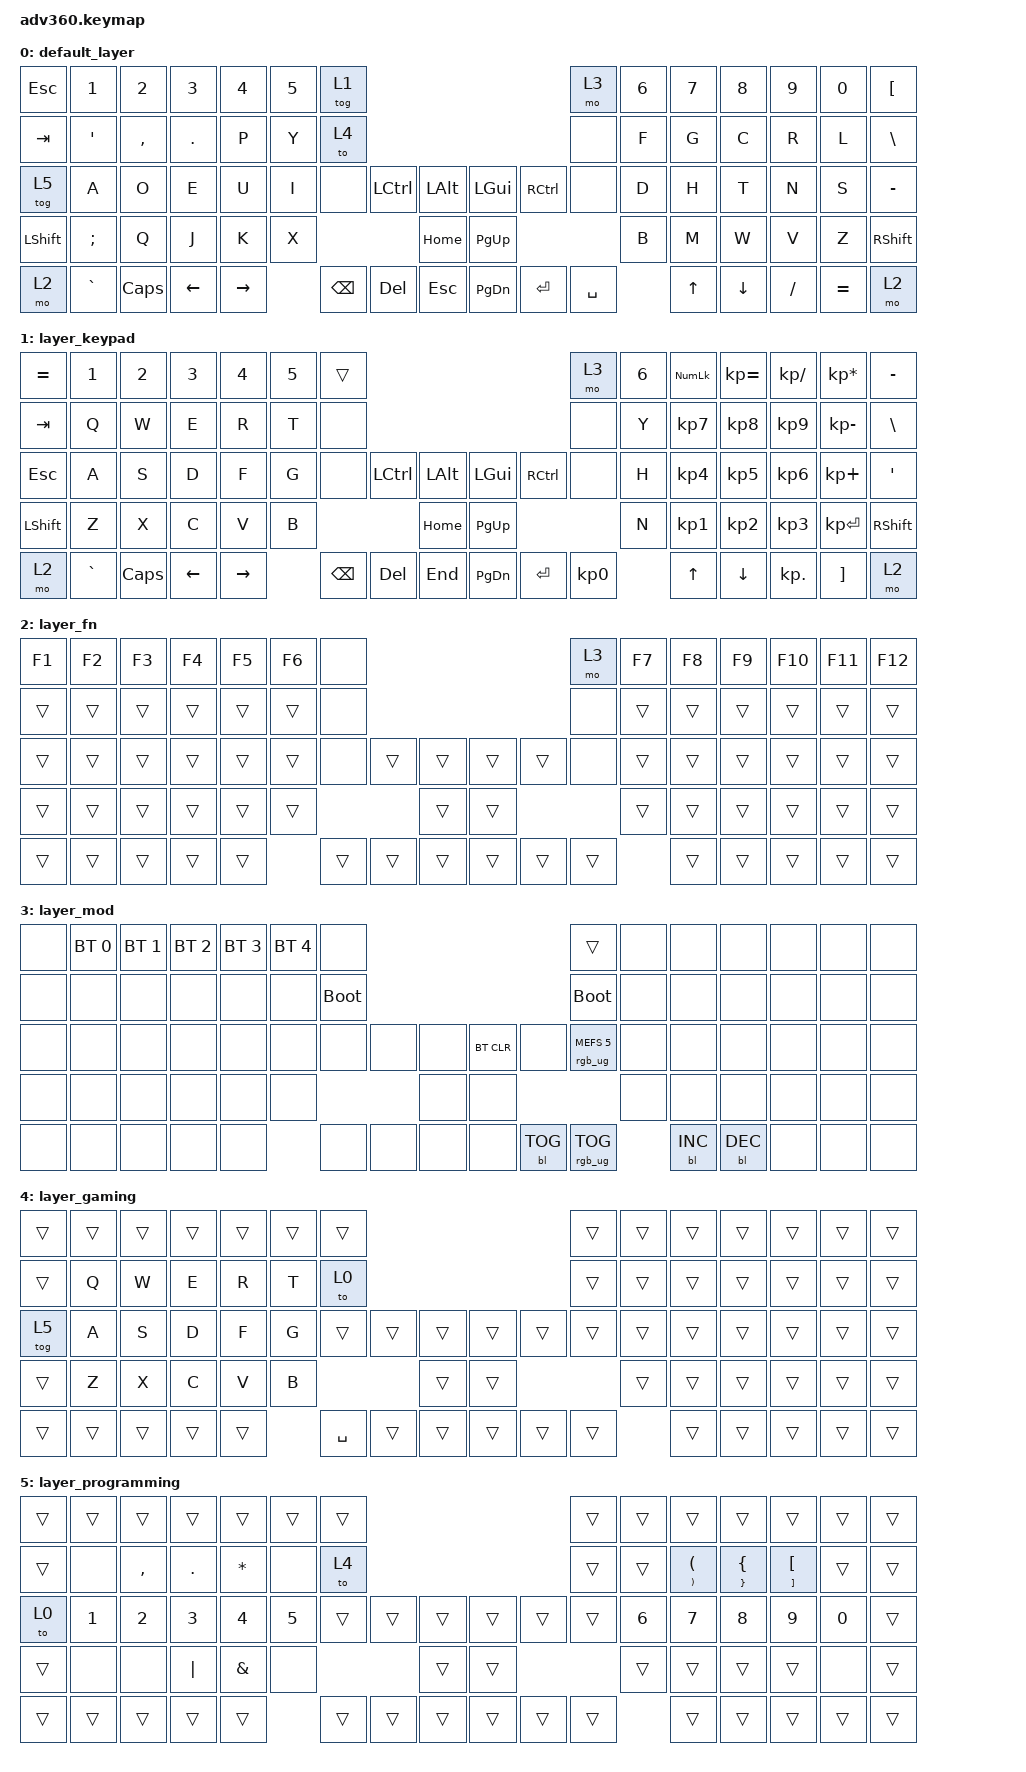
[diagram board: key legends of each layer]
/*
 * Copyright (c) 2020 The ZMK Contributors
 *
 * SPDX-License-Identifier: MIT
 */
/* THIS FILE WAS GENERATED!
 *
 * This file was generated automatically. You may or may not want to
 * edit it directly.
 */

#include <behaviors.dtsi>
#include <dt-bindings/zmk/backlight.h>
#include <dt-bindings/zmk/bt.h>
#include <dt-bindings/zmk/keys.h>
#include <dt-bindings/zmk/rgb.h>

/ {
    behaviors {
        #include "macros.dtsi"
    #include "version.dtsi"

        hm: homerow_mods {
            compatible = "zmk,behavior-hold-tap";
            label = "HOMEROW_MODS";
            #binding-cells = <2>;
            tapping-term-ms = <200>;
            quick_tap_ms = <175>;
            flavor = "tap-preferred";
            bindings = <&kp>, <&kp>;
        };
    };

    macros {
        chorded_const: chorded_const {
            compatible = "zmk,behavior-macro";
            #binding-cells = <0>;
            bindings = <&kp C &kp O &kp N &kp S &kp T>;
            label = "CHORDED_CONST";
        };

        chorded_nodiscard: chorded_nodiscard {
            compatible = "zmk,behavior-macro";
            #binding-cells = <0>;
            bindings = <&kp LBKT &kp LBKT &kp N &kp O &kp D &kp I &kp S &kp C &kp A &kp R &kp D &kp RBKT &kp RBKT &kp SPACE>;
            label = "CHORDED_NODISCARD";
        };

        chorded_maybe_unused: chorded_maybe_unused {
            compatible = "zmk,behavior-macro";
            #binding-cells = <0>;
            bindings = <&kp LBKT &kp LBKT &kp M &kp A &kp Y &kp B &kp E &kp UNDER &kp U &kp N &kp U &kp S &kp E &kp D &kp RBKT &kp RBKT &kp SPACE>;
            label = "CHORDED_MAYBE_UNUSED";
        };
    };

    combos {
        compatible = "zmk,combos";

        const_chord {
            bindings = <&chorded_const>;
            key-positions = <28 24>;
            timeout-ms = <100>;
            require-prior-idle-ms = <100>;
        };

        maybe_unused_chord {
            bindings = <&chorded_maybe_unused>;
            key-positions = <28 55>;
        };

        nodiscard_chord {
            bindings = <&chorded_nodiscard>;
            key-positions = <28 43>;
        };
    };

    keymap {
        compatible = "zmk,keymap";

        default_layer {
            bindings = <
&kp ESCAPE  &kp N1            &kp N2     &kp N3      &kp N4     &kp N5  &tog 1                                                        &mo 3      &kp N6  &kp N7  &kp N8    &kp N9    &kp N0     &kp LEFT_BRACKET
&kp TAB     &kp SINGLE_QUOTE  &kp COMMA  &kp PERIOD  &kp P      &kp Y   &to 4                                                         &none      &kp F   &kp G   &kp C     &kp R     &kp L      &kp BSLH
&tog 5      &kp A             &kp O      &kp E       &kp U      &kp I   &none          &kp LCTRL  &kp LALT      &kp LGUI   &kp RCTRL  &none      &kp D   &kp H   &kp T     &kp N     &kp S      &kp MINUS
&kp LSHFT   &kp SEMICOLON     &kp Q      &kp J       &kp K      &kp X                             &kp HOME      &kp PG_UP                        &kp B   &kp M   &kp W     &kp V     &kp Z      &kp RSHFT
&mo 2       &kp GRAVE         &kp CAPS   &kp LEFT    &kp RIGHT          &kp BACKSPACE  &kp DEL    &kp ESC       &kp PG_DN  &kp ENTER  &kp SPACE          &kp UP  &kp DOWN  &kp FSLH  &kp EQUAL  &mo 2
            >;
        };

        layer_keypad {
            bindings = <
&kp EQUAL  &kp N1     &kp N2    &kp N3    &kp N4     &kp N5  &trans                                                   &mo 3      &kp N6  &kp KP_NUM  &kp KP_EQUAL  &kp KP_DIVIDE  &kp KP_MULTIPLY  &kp MINUS
&kp TAB    &kp Q      &kp W     &kp E     &kp R      &kp T   &none                                                    &none      &kp Y   &kp KP_N7   &kp KP_N8     &kp KP_N9      &kp KP_MINUS     &kp BSLH
&kp ESC    &kp A      &kp S     &kp D     &kp F      &kp G   &none     &kp LCTRL  &kp LALT      &kp LGUI   &kp RCTRL  &none      &kp H   &kp KP_N4   &kp KP_N5     &kp KP_N6      &kp KP_PLUS      &kp SQT
&kp LSHFT  &kp Z      &kp X     &kp C     &kp V      &kp B                        &kp HOME      &kp PG_UP                        &kp N   &kp KP_N1   &kp KP_N2     &kp KP_N3      &kp KP_ENTER     &kp RSHFT
&mo 2      &kp GRAVE  &kp CAPS  &kp LEFT  &kp RIGHT          &kp BSPC  &kp DEL    &kp END       &kp PG_DN  &kp ENTER  &kp KP_N0          &kp UP      &kp DOWN      &kp KP_DOT     &kp RBKT         &mo 2
            >;
        };

        layer_fn {
            bindings = <
&kp F1  &kp F2  &kp F3  &kp F4  &kp F5  &kp F6  &none                                       &mo 3   &kp F7  &kp F8  &kp F9  &kp F10  &kp F11  &kp F12
&trans  &trans  &trans  &trans  &trans  &trans  &none                                       &none   &trans  &trans  &trans  &trans   &trans   &trans
&trans  &trans  &trans  &trans  &trans  &trans  &none   &trans  &trans      &trans  &trans  &none   &trans  &trans  &trans  &trans   &trans   &trans
&trans  &trans  &trans  &trans  &trans  &trans                  &trans      &trans                  &trans  &trans  &trans  &trans   &trans   &trans
&trans  &trans  &trans  &trans  &trans          &trans  &trans  &trans      &trans  &trans  &trans          &trans  &trans  &trans   &trans   &trans
            >;
        };

        layer_mod {
            bindings = <
&none  &bt BT_SEL 0  &bt BT_SEL 1  &bt BT_SEL 2  &bt BT_SEL 3  &bt BT_SEL 4  &none                                                  &trans                  &none  &none       &none       &none  &none  &none
&none  &none         &none         &none         &none         &none         &bootloader                                            &bootloader             &none  &none       &none       &none  &none  &none
&none  &none         &none         &none         &none         &none         &none        &none  &none      &bt BT_CLR  &none       &rgb_ug RGB_MEFS_CMD 5  &none  &none       &none       &none  &none  &none
&none  &none         &none         &none         &none         &none                             &none      &none                                           &none  &none       &none       &none  &none  &none
&none  &none         &none         &none         &none                       &none        &none  &none      &none       &bl BL_TOG  &rgb_ug RGB_TOG                &bl BL_INC  &bl BL_DEC  &none  &none  &none
            >;
        };

        layer_gaming {
            bindings = <
&trans  &trans  &trans  &trans  &trans  &trans  &trans                                         &trans  &trans  &trans  &trans  &trans  &trans  &trans
&trans  &kp Q   &kp W   &kp E   &kp R   &kp T   &to 0                                          &trans  &trans  &trans  &trans  &trans  &trans  &trans
&tog 5  &kp A   &kp S   &kp D   &kp F   &kp G   &trans     &trans  &trans      &trans  &trans  &trans  &trans  &trans  &trans  &trans  &trans  &trans
&trans  &kp Z   &kp X   &kp C   &kp V   &kp B                      &trans      &trans                  &trans  &trans  &trans  &trans  &trans  &trans
&trans  &trans  &trans  &trans  &trans          &kp SPACE  &trans  &trans      &trans  &trans  &trans          &trans  &trans  &trans  &trans  &trans
            >;
        };

        layer_programming {
            bindings = <
&trans  &trans        &trans        &trans        &trans        &trans        &trans                                      &trans  &trans        &trans                                  &trans                      &trans                          &trans        &trans
&trans  &none         &kp COMMA     &kp PERIOD    &kp ASTRK     &none         &to 4                                       &trans  &trans        &mt RIGHT_PARENTHESIS LEFT_PARENTHESIS  &mt RIGHT_BRACE LEFT_BRACE  &mt RIGHT_BRACKET LEFT_BRACKET  &trans        &trans
&to 0   &kp NUMBER_1  &kp NUMBER_2  &kp NUMBER_3  &kp NUMBER_4  &kp NUMBER_5  &trans  &trans  &trans      &trans  &trans  &trans  &kp NUMBER_6  &kp NUMBER_7                            &kp NUMBER_8                &kp NUMBER_9                    &kp NUMBER_0  &trans
&trans  &none         &none         &kp PIPE      &kp AMPS      &none                         &trans      &trans                  &trans        &trans                                  &trans                      &trans                          &none         &trans
&trans  &trans        &trans        &trans        &trans                      &trans  &trans  &trans      &trans  &trans  &trans                &trans                                  &trans                      &trans                          &trans        &trans
            >;
        };
    };
};
